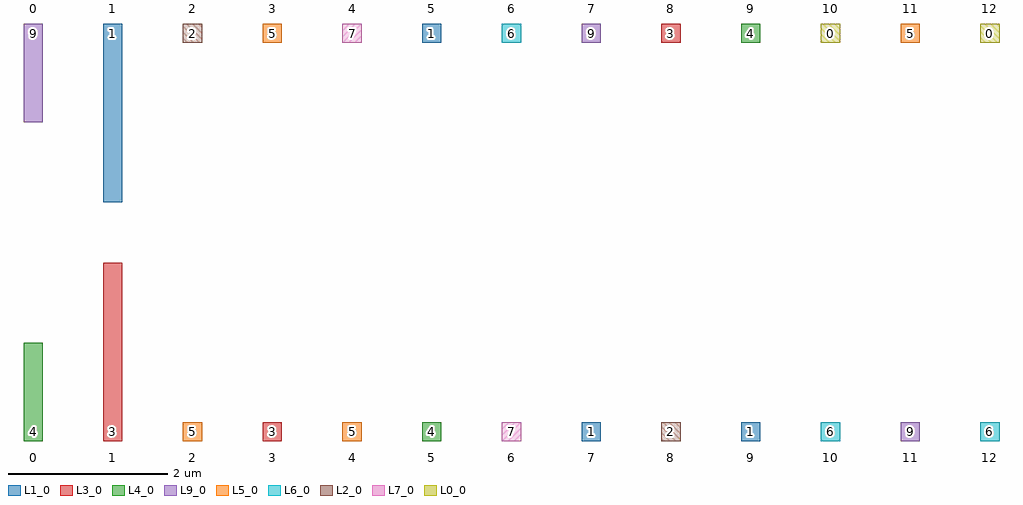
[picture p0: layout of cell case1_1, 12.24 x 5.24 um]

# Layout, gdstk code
import gdstk
lib = gdstk.Library(unit=1e-6, precision=1e-09)
def R(c, l, rs):  # rectangles x0, y0, x1, y1
    for r in rs: c.add(gdstk.rectangle(r[:2], r[2:], *l))
L0_0 = (0, 0)
L1_0 = (1, 0)
L2_0 = (2, 0)
L3_0 = (3, 0)
L4_0 = (4, 0)
L5_0 = (5, 0)
L6_0 = (6, 0)
L7_0 = (7, 0)
L9_0 = (9, 0)

case1_1 = lib.new_cell('case1_1')
R(case1_1, L0_0, [(9.88,4.88,10.12,5.12), (11.88,4.88,12.12,5.12)])
R(case1_1, L1_0, [(6.88,-0.12,7.12,0.12), (8.88,-0.12,9.12,0.12), (0.88,2.88,1.12,5.12), (0.88,4.88,1.12,5.12), (4.88,4.88,5.12,5.12)])
R(case1_1, L2_0, [(7.88,-0.12,8.12,0.12), (1.88,4.88,2.12,5.12)])
R(case1_1, L3_0, [(0.88,-0.12,1.12,2.12), (0.88,-0.12,1.12,0.12), (2.88,-0.12,3.12,0.12), (7.88,4.88,8.12,5.12)])
R(case1_1, L4_0, [(-0.12,-0.12,0.12,1.12), (-0.12,-0.12,0.12,0.12), (4.88,-0.12,5.12,0.12), (8.88,4.88,9.12,5.12)])
R(case1_1, L5_0, [(1.88,-0.12,2.12,0.12), (3.88,-0.12,4.12,0.12), (2.88,4.88,3.12,5.12), (10.88,4.88,11.12,5.12)])
R(case1_1, L6_0, [(9.88,-0.12,10.12,0.12), (11.88,-0.12,12.12,0.12), (5.88,4.88,6.12,5.12)])
R(case1_1, L7_0, [(5.88,-0.12,6.12,0.12), (3.88,4.88,4.12,5.12)])
R(case1_1, L9_0, [(10.88,-0.12,11.12,0.12), (-0.12,3.88,0.12,5.12), (-0.12,4.88,0.12,5.12), (6.88,4.88,7.12,5.12)])
case1_1.add(gdstk.Label('0', (0,5.4), layer=215, texttype=1))
case1_1.add(gdstk.Label('9', (0,5), layer=215, texttype=1))
case1_1.add(gdstk.Label('1', (1,5.4), layer=215, texttype=1))
case1_1.add(gdstk.Label('1', (1,5), layer=215, texttype=1))
case1_1.add(gdstk.Label('2', (2,5.4), layer=215, texttype=1))
case1_1.add(gdstk.Label('2', (2,5), layer=215, texttype=1))
case1_1.add(gdstk.Label('3', (3,5.4), layer=215, texttype=1))
case1_1.add(gdstk.Label('5', (3,5), layer=215, texttype=1))
case1_1.add(gdstk.Label('4', (4,5.4), layer=215, texttype=1))
case1_1.add(gdstk.Label('7', (4,5), layer=215, texttype=1))
case1_1.add(gdstk.Label('5', (5,5.4), layer=215, texttype=1))
case1_1.add(gdstk.Label('1', (5,5), layer=215, texttype=1))
case1_1.add(gdstk.Label('6', (6,5.4), layer=215, texttype=1))
case1_1.add(gdstk.Label('6', (6,5), layer=215, texttype=1))
case1_1.add(gdstk.Label('7', (7,5.4), layer=215, texttype=1))
case1_1.add(gdstk.Label('9', (7,5), layer=215, texttype=1))
case1_1.add(gdstk.Label('8', (8,5.4), layer=215, texttype=1))
case1_1.add(gdstk.Label('3', (8,5), layer=215, texttype=1))
case1_1.add(gdstk.Label('9', (9,5.4), layer=215, texttype=1))
case1_1.add(gdstk.Label('4', (9,5), layer=215, texttype=1))
case1_1.add(gdstk.Label('10', (10,5.4), layer=215, texttype=1))
case1_1.add(gdstk.Label('0', (10,5), layer=215, texttype=1))
case1_1.add(gdstk.Label('11', (11,5.4), layer=215, texttype=1))
case1_1.add(gdstk.Label('5', (11,5), layer=215, texttype=1))
case1_1.add(gdstk.Label('12', (12,5.4), layer=215, texttype=1))
case1_1.add(gdstk.Label('0', (12,5), layer=215, texttype=1))
case1_1.add(gdstk.Label('0', (0,-0.4), layer=215, texttype=1))
case1_1.add(gdstk.Label('4', (0,0), layer=215, texttype=1))
case1_1.add(gdstk.Label('1', (1,-0.4), layer=215, texttype=1))
case1_1.add(gdstk.Label('3', (1,0), layer=215, texttype=1))
case1_1.add(gdstk.Label('2', (2,-0.4), layer=215, texttype=1))
case1_1.add(gdstk.Label('5', (2,0), layer=215, texttype=1))
case1_1.add(gdstk.Label('3', (3,-0.4), layer=215, texttype=1))
case1_1.add(gdstk.Label('3', (3,0), layer=215, texttype=1))
case1_1.add(gdstk.Label('4', (4,-0.4), layer=215, texttype=1))
case1_1.add(gdstk.Label('5', (4,0), layer=215, texttype=1))
case1_1.add(gdstk.Label('5', (5,-0.4), layer=215, texttype=1))
case1_1.add(gdstk.Label('4', (5,0), layer=215, texttype=1))
case1_1.add(gdstk.Label('6', (6,-0.4), layer=215, texttype=1))
case1_1.add(gdstk.Label('7', (6,0), layer=215, texttype=1))
case1_1.add(gdstk.Label('7', (7,-0.4), layer=215, texttype=1))
case1_1.add(gdstk.Label('1', (7,0), layer=215, texttype=1))
case1_1.add(gdstk.Label('8', (8,-0.4), layer=215, texttype=1))
case1_1.add(gdstk.Label('2', (8,0), layer=215, texttype=1))
case1_1.add(gdstk.Label('9', (9,-0.4), layer=215, texttype=1))
case1_1.add(gdstk.Label('1', (9,0), layer=215, texttype=1))
case1_1.add(gdstk.Label('10', (10,-0.4), layer=215, texttype=1))
case1_1.add(gdstk.Label('6', (10,0), layer=215, texttype=1))
case1_1.add(gdstk.Label('11', (11,-0.4), layer=215, texttype=1))
case1_1.add(gdstk.Label('9', (11,0), layer=215, texttype=1))
case1_1.add(gdstk.Label('12', (12,-0.4), layer=215, texttype=1))
case1_1.add(gdstk.Label('6', (12,0), layer=215, texttype=1))

lib.write_gds('case1_1.gds')
